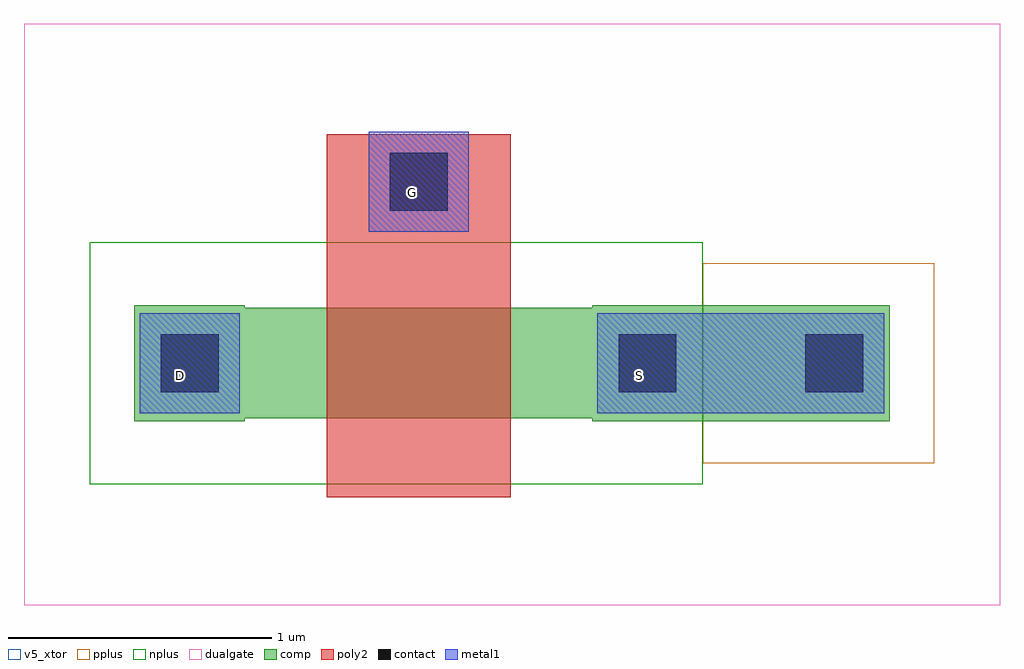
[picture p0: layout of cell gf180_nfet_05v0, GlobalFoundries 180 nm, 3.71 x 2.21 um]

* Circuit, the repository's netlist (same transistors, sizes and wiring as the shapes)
* Extracted by KLayout with GF180MCU LVS runset on : 18/08/2026 15:24

* cell gf180_nfet_05v0
* pin B
* pin D
* pin G
* pin S
.SUBCKT gf180_nfet_05v0 B D G S
* device instance $1 r0 *1 1.5,0.915 nfet_05v0
M$1 S G D B nfet_05v0 L=0.7U W=0.42U AS=0.315P AD=0.315P PS=2.34U PD=2.34U
.ENDS gf180_nfet_05v0

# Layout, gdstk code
import gdstk
lib = gdstk.Library(unit=1e-6, precision=1e-09)
def R(c, l, rs):  # rectangles x0, y0, x1, y1
    for r in rs: c.add(gdstk.rectangle(r[:2], r[2:], *l))
def P(c, l, *ps):  # polygons
    for p in ps: c.add(gdstk.Polygon(p, *l))
comp = (22, 0)
poly2 = (30, 0)
pplus = (31, 0)
nplus = (32, 0)
contact = (33, 0)
metal1 = (34, 0)
dualgate = (55, 0)
v5_xtor = (112, 1)

nfet = lib.new_cell('nfet')
P(nfet, comp, [(-0.42,-0.01),(-0.42,0.43),(0,0.43),(0,0.42),(1.32,0.42),(1.32,0.43),(2.45,0.43),(2.45,-0.01),(1.32,-0.01),(1.32,0),(0,0),(0,-0.01)])
R(nfet, poly2, [(0.31,-0.3,1.01,1.08)])
R(nfet, pplus, [(1.74,-0.17,2.62,0.59)])
R(nfet, nplus, [(-0.59,-0.25,1.74,0.67)])
R(nfet, contact, [(-0.32,0.1,-0.1,0.32), (1.42,0.1,1.64,0.32), (2.13,0.1,2.35,0.32), (0.55,0.79,0.77,1.01)])
R(nfet, metal1, [(-0.4,0.02,-0.02,0.4), (1.34,0.02,1.72,0.4), (2.05,0.02,2.43,0.4), (0.47,0.71,0.85,1.09)])
R(nfet, dualgate, [(-0.84,-0.71,2.87,1.5)])
R(nfet, v5_xtor, [(-0.84,-0.71,2.87,1.5)])

gf180_nfet_05v0 = lib.new_cell('gf180_nfet_05v0')
gf180_nfet_05v0.add(gdstk.FlexPath([(2.56,0.915),(2.89,0.915)], 0.38, ends="flush", simple_path=True, layer=34, datatype=0))  # metal1
gf180_nfet_05v0.add(gdstk.Reference(nfet, (0.84,0.705)))
gf180_nfet_05v0.add(gdstk.Label('G', (1.475,1.565), layer=34, texttype=10))
gf180_nfet_05v0.add(gdstk.Label('D', (0.595,0.87), layer=34, texttype=10))
gf180_nfet_05v0.add(gdstk.Label('S', (2.34,0.87), layer=34, texttype=10))

lib.write_gds('gf180_nfet_05v0.gds')
